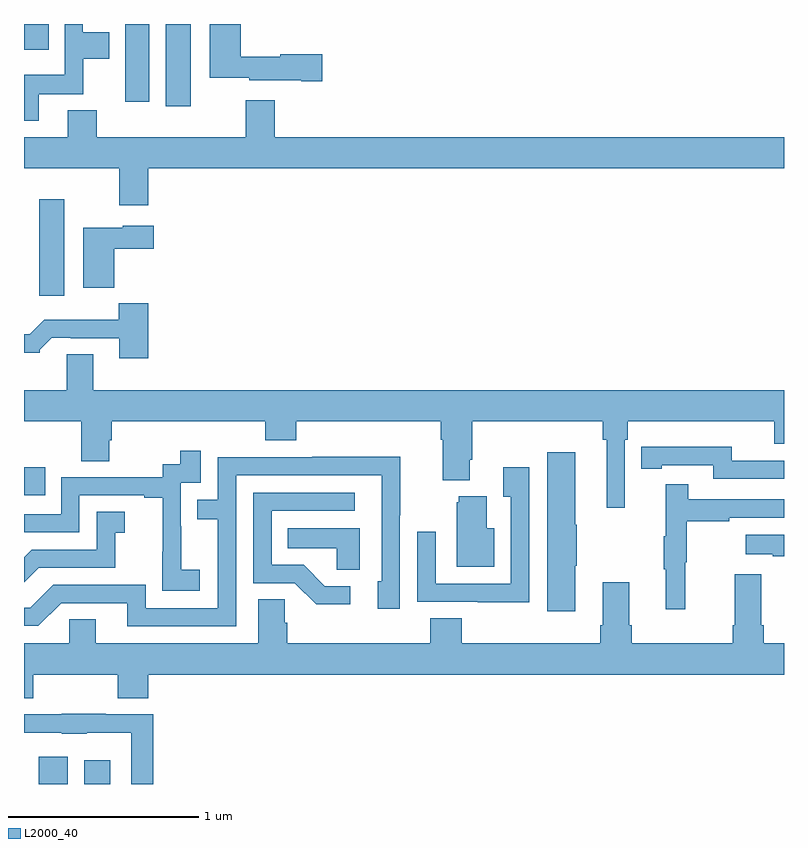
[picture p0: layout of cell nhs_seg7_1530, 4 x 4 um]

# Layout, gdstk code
import gdstk
lib = gdstk.Library(unit=1e-6, precision=1e-09)
def R(c, l, rs):  # rectangles x0, y0, x1, y1
    for r in rs: c.add(gdstk.rectangle(r[:2], r[2:], *l))
def P(c, l, *ps):  # polygons
    for p in ps: c.add(gdstk.Polygon(p, *l))
L2000_40 = (2000, 40)

nhs_seg7_1530 = lib.new_cell('nhs_seg7_1530')
R(nhs_seg7_1530, L2000_40, [(215.078,1040,215.23,1040.143), (215.318,1040,215.455,1040.125), (215,1041.519,215.111,1041.667), (215.081,1042.569,215.212,1043.077), (215.747,1043.568,215.878,1044), (215.534,1043.592,215.659,1044), (215,1043.864,215.129,1044)])
P(nhs_seg7_1530, L2000_40, [(215.077,1043.63),(215.313,1043.63),(215.313,1043.816),(215.449,1043.816),(215.449,1043.956),(215.31,1043.956),(215.31,1044),(215.214,1044),(215.214,1043.734),(215,1043.734),(215,1043.49),(215.077,1043.49)],
  [(216.571,1043.84),(216.348,1043.84),(216.348,1043.827),(216.14,1043.827),(216.14,1044),(215.978,1044),(215.978,1043.717),(216.186,1043.717),(216.186,1043.705),(216.458,1043.705),(216.458,1043.698),(216.571,1043.698)],
  [(215.654,1043.24),(219,1043.24),(219,1043.404),(216.32,1043.404),(216.32,1043.599),(216.167,1043.599),(216.167,1043.404),(215.384,1043.404),(215.384,1043.545),(215.231,1043.545),(215.231,1043.404),(215,1043.404),(215,1043.24),(215.501,1043.24),(215.501,1043.046),(215.654,1043.046)],
  [(215.474,1042.817),(215.683,1042.817),(215.683,1042.939),(215.52,1042.939),(215.52,1042.927),(215.312,1042.927),(215.312,1042.613),(215.474,1042.613)],
  [(215.654,1042.531),(215.499,1042.531),(215.499,1042.444),(215.107,1042.444),(215.031,1042.368),(215,1042.368),(215,1042.271),(215.082,1042.271),(215.082,1042.286),(215.146,1042.35),(215.245,1042.35),(215.245,1042.347),(215.501,1042.347),(215.501,1042.242),(215.654,1042.242)],
  [(218.163,1041.812),(218.177,1041.812),(218.177,1041.908),(218.948,1041.908),(218.948,1041.791),(219,1041.791),(219,1042.072),(215.365,1042.072),(215.365,1042.262),(215.225,1042.262),(215.225,1042.072),(215,1042.072),(215,1041.908),(215.302,1041.908),(215.302,1041.7),(215.449,1041.7),(215.449,1041.81),(215.462,1041.81),(215.462,1041.908),(216.269,1041.908),(216.269,1041.809),(216.434,1041.809),(216.434,1041.908),(217.193,1041.908),(217.193,1041.812),(217.205,1041.812),(217.205,1041.599),(217.345,1041.599),(217.345,1041.706),(217.358,1041.706),(217.358,1041.908),(218.047,1041.908),(218.047,1041.812),(218.066,1041.812),(218.066,1041.453),(218.163,1041.453)],
  [(219,1041.702),(218.724,1041.702),(218.724,1041.775),(218.356,1041.775),(218.356,1041.774),(218.248,1041.774),(218.248,1041.658),(218.356,1041.658),(218.356,1041.678),(218.628,1041.678),(218.628,1041.606),(219,1041.606)],
  [(215.926,1041.127),(215.828,1041.127),(215.828,1041.356),(215.826,1041.356),(215.826,1041.585),(215.931,1041.585),(215.931,1041.754),(215.823,1041.754),(215.823,1041.684),(215.73,1041.684),(215.73,1041.615),(215.196,1041.615),(215.196,1041.42),(215,1041.42),(215,1041.324),(215.292,1041.324),(215.292,1041.519),(215.633,1041.519),(215.633,1041.507),(215.729,1041.507),(215.729,1041.223),(215.728,1041.223),(215.728,1041.017),(215.926,1041.017)],
  [(217.9,1041.148),(217.908,1041.148),(217.908,1041.365),(217.9,1041.365),(217.9,1041.745),(217.754,1041.745),(217.754,1040.91),(217.9,1040.91)],
  [(216.117,1041.624),(216.882,1041.624),(216.882,1041.066),(216.863,1041.066),(216.863,1040.922),(216.978,1040.922),(216.978,1041.415),(216.981,1041.415),(216.981,1041.722),(216.517,1041.722),(216.517,1041.72),(216.021,1041.72),(216.021,1041.495),(215.911,1041.495),(215.911,1041.394),(216.021,1041.394),(216.021,1040.925),(215.64,1040.925),(215.64,1041.048),(215.154,1041.048),(215.034,1040.928),(215,1040.928),(215,1040.832),(215.076,1040.832),(215.196,1040.952),(215.543,1040.952),(215.543,1040.829),(216.117,1040.829)],
  [(217.659,1041.667),(217.523,1041.667),(217.523,1041.511),(217.563,1041.511),(217.563,1041.054),(217.167,1041.054),(217.167,1041.328),(217.071,1041.328),(217.071,1040.958),(217.387,1040.958),(217.387,1040.957),(217.659,1040.957)],
  [(218.48,1041.168),(218.488,1041.168),(218.488,1041.382),(218.711,1041.382),(218.711,1041.402),(219,1041.402),(219,1041.498),(218.495,1041.498),(218.495,1041.577),(218.378,1041.577),(218.378,1041.305),(218.367,1041.305),(218.367,1041.131),(218.378,1041.131),(218.378,1040.919),(218.48,1040.919)],
  [(216.718,1041.042),(216.583,1041.042),(216.472,1041.153),(216.303,1041.153),(216.303,1041.438),(216.742,1041.438),(216.742,1041.534),(216.207,1041.534),(216.207,1041.057),(216.426,1041.057),(216.539,1040.945),(216.718,1040.945)],
  [(217.474,1041.346),(217.435,1041.346),(217.435,1041.514),(217.289,1041.514),(217.289,1041.483),(217.277,1041.483),(217.277,1041.143),(217.474,1041.143)],
  [(215.077,1041.138),(215.481,1041.138),(215.481,1041.323),(215.53,1041.323),(215.53,1041.433),(215.382,1041.433),(215.382,1041.234),(215.04,1041.234),(215,1041.194),(215,1041.061)],
  [(216.766,1041.346),(216.388,1041.346),(216.388,1041.242),(216.645,1041.242),(216.645,1041.127),(216.766,1041.127)],
  [(219,1041.313),(218.799,1041.313),(218.799,1041.209),(218.942,1041.209),(218.942,1041.199),(219,1041.199)],
  [(215.049,1040.576),(215.494,1040.576),(215.494,1040.452),(215.654,1040.452),(215.654,1040.576),(219,1040.576),(219,1040.74),(218.894,1040.74),(218.894,1040.836),(218.881,1040.836),(218.881,1041.103),(218.741,1041.103),(218.741,1040.836),(218.729,1040.836),(218.729,1040.74),(218.198,1040.74),(218.198,1040.836),(218.185,1040.836),(218.185,1041.061),(218.045,1041.061),(218.045,1040.836),(218.033,1040.836),(218.033,1040.74),(217.304,1040.74),(217.304,1040.873),(217.139,1040.873),(217.139,1040.74),(216.386,1040.74),(216.386,1040.849),(216.372,1040.849),(216.372,1040.972),(216.233,1040.972),(216.233,1040.74),(215.377,1040.74),(215.377,1040.867),(215.238,1040.867),(215.238,1040.74),(215,1040.74),(215,1040.452),(215.049,1040.452)],
  [(215.681,1040.367),(215.431,1040.367),(215.431,1040.369),(215.199,1040.369),(215.199,1040.367),(215,1040.367),(215,1040.271),(215.199,1040.271),(215.199,1040.264),(215.331,1040.264),(215.331,1040.27),(215.565,1040.27),(215.565,1040),(215.681,1040)])

lib.write_gds('nhs_seg7_1530.gds')
